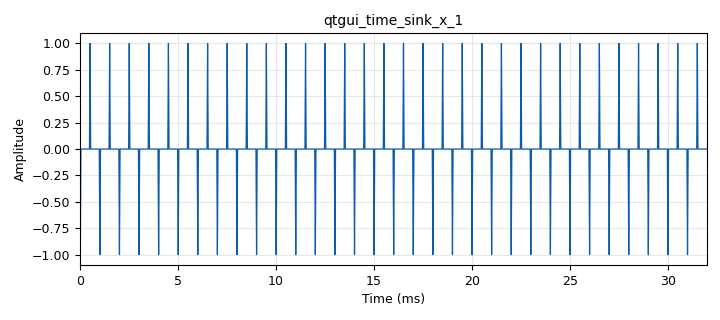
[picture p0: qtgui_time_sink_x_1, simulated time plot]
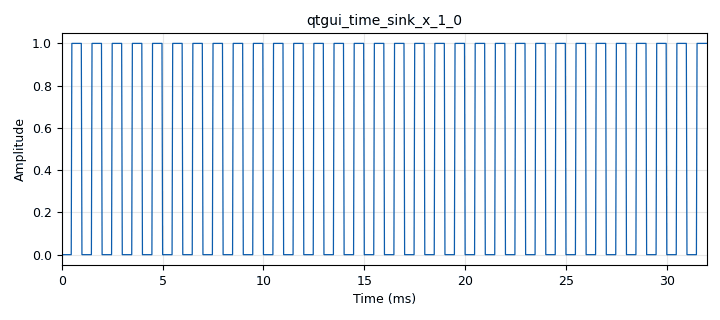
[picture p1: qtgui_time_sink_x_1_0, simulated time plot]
options:
  parameters:
    author: Silvia Leon / Laura vilbao
    generate_options: qt_gui
    id: diferenciador
    output_language: python
    title: Practica 1
  states: {}

blocks:
- name: samp_rate
  id: variable
  parameters:
    value: '32000'
  states: {}
- name: analog_sig_source_x_0
  id: analog_sig_source_x
  parameters:
    amp: '1'
    freq: '1000'
    offset: '0'
    phase: '0'
    samp_rate: samp_rate
    type: float
    waveform: analog.GR_SQR_WAVE
  states: {}
- name: epy_block_0
  id: epy_block
  parameters:
    _source_code: |
      import numpy as np
      from gnuradio import gr

      class blk(gr.sync_block):
          def __init__(self):
              gr.sync_block.__init__(
                  self,
                  name='Diferenciador',
                  in_sig=[np.float32],
                  out_sig=[np.float32]
              )
              self.prev = 0.0

          def work(self, input_items, output_items):
              x = input_items[0]
              y = output_items[0]

              for i in range(len(x)):
                  y[i] = x[i] - self.prev
                  self.prev = float(x[i])

              return len(y)
  states: {}
- name: qtgui_time_sink_x_1
  id: qtgui_time_sink_x
  parameters:
    autoscale: 'True'
    size: '1024'
    srate: samp_rate
    type: float
  states: {}
- name: qtgui_time_sink_x_1_0
  id: qtgui_time_sink_x
  parameters:
    autoscale: 'True'
    size: '1024'
    srate: samp_rate
    type: float
  states: {}

connections:
- [analog_sig_source_x_0, '0', epy_block_0, '0']
- [analog_sig_source_x_0, '0', qtgui_time_sink_x_1_0, '0']
- [epy_block_0, '0', qtgui_time_sink_x_1, '0']

metadata:
  file_format: 1
  grc_version: 3.10.9.2
